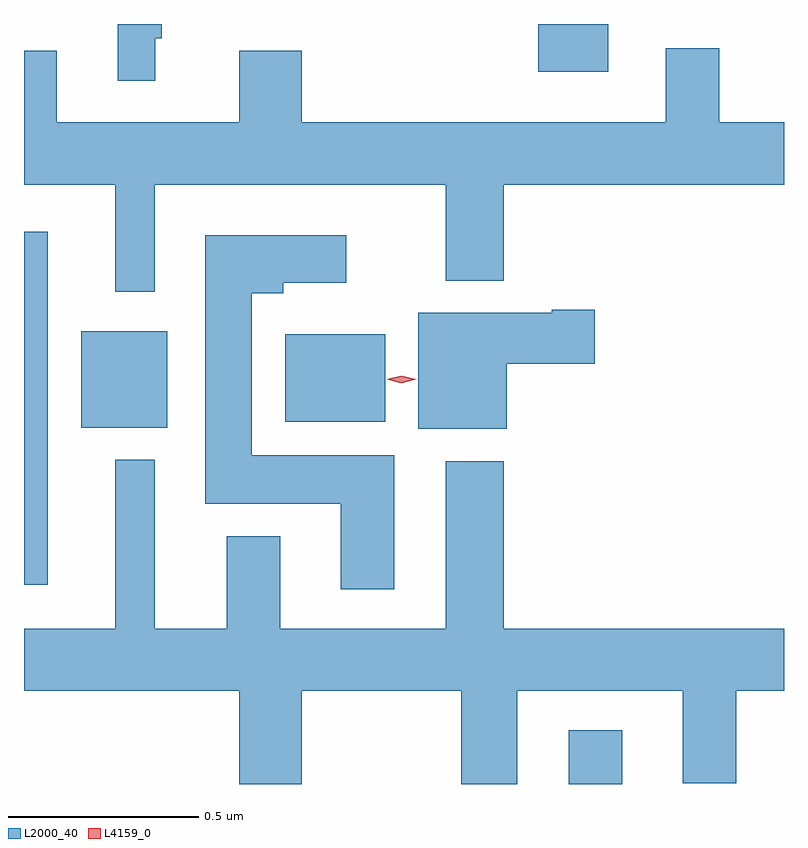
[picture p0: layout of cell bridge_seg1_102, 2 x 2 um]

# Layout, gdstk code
import gdstk
lib = gdstk.Library(unit=1e-6, precision=1e-09)
def R(c, l, rs):  # rectangles x0, y0, x1, y1
    for r in rs: c.add(gdstk.rectangle(r[:2], r[2:], *l))
def P(c, l, *ps):  # polygons
    for p in ps: c.add(gdstk.Polygon(p, *l))
L2000_40 = (2000, 40)
L4159_0 = (4159, 0)

bridge_seg1_102 = lib.new_cell('bridge_seg1_102')
R(bridge_seg1_102, L2000_40, [(249.791,535.503,249.931,535.645), (248.357,536.027,248.419,536.956), (248.507,536.441,248.734,536.695), (249.044,536.456,249.307,536.686), (249.71,537.378,249.895,537.503)])
P(bridge_seg1_102, L2000_40, [(248.703,537.466),(248.72,537.466),(248.72,537.503),(248.604,537.503),(248.604,537.354),(248.703,537.354)],
  [(248.701,537.08),(249.467,537.08),(249.467,536.828),(249.62,536.828),(249.62,537.08),(250.357,537.08),(250.357,537.244),(250.186,537.244),(250.186,537.439),(250.046,537.439),(250.046,537.244),(249.088,537.244),(249.088,537.433),(248.924,537.433),(248.924,537.244),(248.443,537.244),(248.443,537.433),(248.357,537.433),(248.357,537.08),(248.597,537.08),(248.597,536.799),(248.701,536.799)],
  [(249.331,536.368),(248.956,536.368),(248.956,536.795),(249.039,536.795),(249.039,536.822),(249.205,536.822),(249.205,536.947),(248.834,536.947),(248.834,536.24),(249.191,536.24),(249.191,536.016),(249.331,536.016)],
  [(249.628,536.609),(249.859,536.609),(249.859,536.751),(249.746,536.751),(249.746,536.743),(249.395,536.743),(249.395,536.438),(249.628,536.438)],
  [(249.508,535.503),(249.655,535.503),(249.655,535.748),(250.091,535.748),(250.091,535.505),(250.231,535.505),(250.231,535.748),(250.357,535.748),(250.357,535.912),(249.62,535.912),(249.62,536.353),(249.467,536.353),(249.467,535.912),(249.031,535.912),(249.031,536.155),(248.891,536.155),(248.891,535.912),(248.701,535.912),(248.701,536.356),(248.597,536.356),(248.597,535.912),(248.357,535.912),(248.357,535.748),(248.924,535.748),(248.924,535.503),(249.088,535.503),(249.088,535.748),(249.508,535.748)])
P(bridge_seg1_102, L4159_0, [(249.35,536.558),(249.312,536.568),(249.312,536.568),(249.312,536.568),(249.35,536.578),(249.389,536.568),(249.389,536.568),(249.389,536.568)])

lib.write_gds('bridge_seg1_102.gds')
